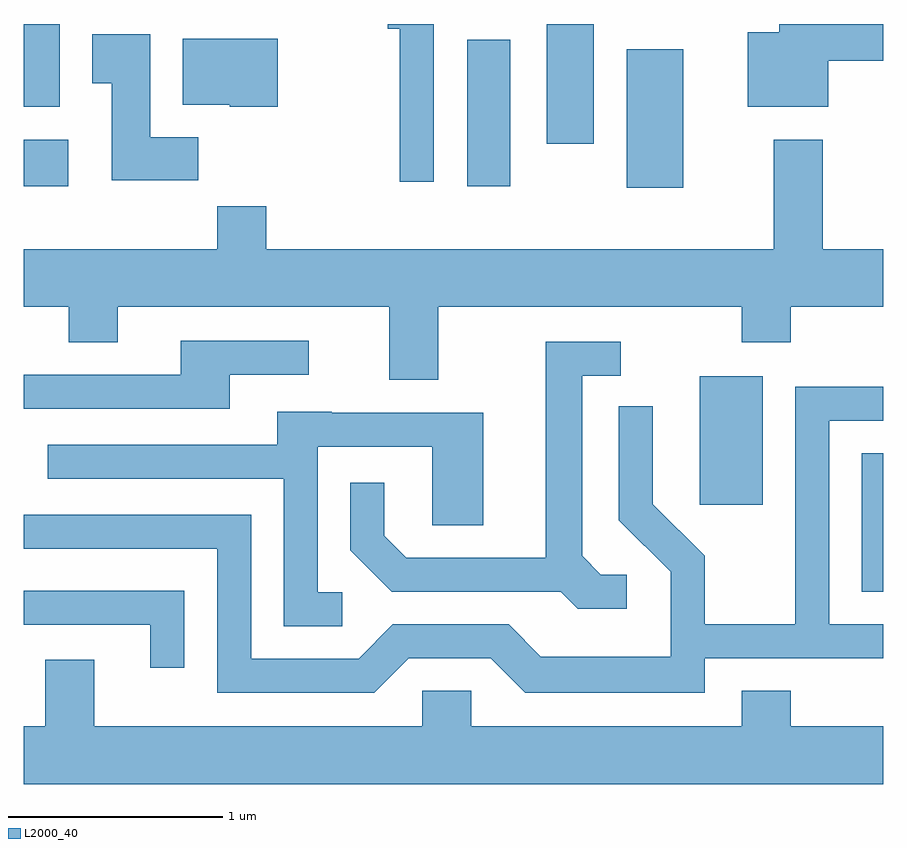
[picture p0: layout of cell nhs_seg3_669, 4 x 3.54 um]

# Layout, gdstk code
import gdstk
lib = gdstk.Library(unit=1e-6, precision=1e-09)
def R(c, l, rs):  # rectangles x0, y0, x1, y1
    for r in rs: c.add(gdstk.rectangle(r[:2], r[2:], *l))
def P(c, l, *ps):  # polygons
    for p in ps: c.add(gdstk.Polygon(p, *l))
L2000_40 = (2000, 40)

nhs_seg3_669 = lib.new_cell('nhs_seg3_669')
R(nhs_seg3_669, L2000_40, [(207.511,1231.251,207.611,1231.894), (206.756,1231.656,207.049,1232.254), (206.416,1233.131,206.679,1233.774), (203.611,1233.136,203.819,1233.354), (205.676,1233.136,205.874,1233.819), (206.046,1233.336,206.264,1233.892), (203.611,1233.506,203.779,1233.892)])
P(nhs_seg3_669, L2000_40, [(205.519,1233.892),(205.306,1233.892),(205.306,1233.871),(205.361,1233.871),(205.361,1233.158),(205.519,1233.158)],
  [(207.354,1233.721),(207.611,1233.721),(207.611,1233.892),(207.126,1233.892),(207.126,1233.854),(206.981,1233.854),(206.981,1233.506),(207.354,1233.506)],
  [(204.424,1233.364),(204.199,1233.364),(204.199,1233.844),(203.931,1233.844),(203.931,1233.616),(204.021,1233.616),(204.021,1233.166),(204.424,1233.166)],
  [(204.794,1233.824),(204.351,1233.824),(204.351,1233.516),(204.57,1233.516),(204.57,1233.506),(204.794,1233.506)],
  [(205.539,1232.576),(206.951,1232.576),(206.951,1232.411),(207.179,1232.411),(207.179,1232.576),(207.611,1232.576),(207.611,1232.844),(207.329,1232.844),(207.329,1233.354),(207.101,1233.354),(207.101,1232.844),(204.739,1232.844),(204.739,1233.044),(204.511,1233.044),(204.511,1232.844),(203.611,1232.844),(203.611,1232.576),(203.821,1232.576),(203.821,1232.411),(204.049,1232.411),(204.049,1232.576),(205.311,1232.576),(205.311,1232.236),(205.539,1232.236)],
  [(204.569,1232.261),(204.938,1232.261),(204.938,1232.419),(204.341,1232.419),(204.341,1232.259),(203.611,1232.259),(203.611,1232.101),(204.569,1232.101)],
  [(206.418,1231.329),(206.297,1231.329),(206.209,1231.417),(206.209,1232.256),(206.388,1232.256),(206.388,1232.414),(206.041,1232.414),(206.041,1231.409),(205.392,1231.409),(205.289,1231.512),(205.289,1231.758),(205.131,1231.758),(205.131,1231.444),(205.324,1231.251),(206.109,1231.251),(206.189,1231.171),(206.418,1231.171)],
  [(205.402,1230.941),(205.784,1230.941),(205.944,1230.781),(206.779,1230.781),(206.779,1230.941),(207.611,1230.941),(207.611,1231.099),(207.359,1231.099),(207.359,1232.046),(207.611,1232.046),(207.611,1232.204),(207.201,1232.204),(207.201,1231.099),(206.779,1231.099),(206.779,1231.417),(206.539,1231.657),(206.539,1232.113),(206.381,1232.113),(206.381,1231.584),(206.621,1231.344),(206.621,1230.949),(206.017,1230.949),(205.867,1231.099),(205.329,1231.099),(205.169,1230.939),(204.669,1230.939),(204.669,1231.609),(203.611,1231.609),(203.611,1231.451),(204.511,1231.451),(204.511,1230.781),(205.242,1230.781)],
  [(205.093,1231.249),(204.979,1231.249),(204.979,1231.926),(205.511,1231.926),(205.511,1231.561),(205.749,1231.561),(205.749,1232.084),(205.045,1232.084),(205.045,1232.089),(204.791,1232.089),(204.791,1231.934),(203.723,1231.934),(203.723,1231.776),(204.821,1231.776),(204.821,1231.091),(205.093,1231.091)],
  [(204.359,1231.254),(203.611,1231.254),(203.611,1231.096),(204.201,1231.096),(204.201,1230.898),(204.359,1230.898)],
  [(207.611,1230.624),(207.179,1230.624),(207.179,1230.789),(206.951,1230.789),(206.951,1230.624),(205.694,1230.624),(205.694,1230.789),(205.466,1230.789),(205.466,1230.624),(203.939,1230.624),(203.939,1230.934),(203.711,1230.934),(203.711,1230.624),(203.611,1230.624),(203.611,1230.356),(207.611,1230.356)])

lib.write_gds('nhs_seg3_669.gds')
